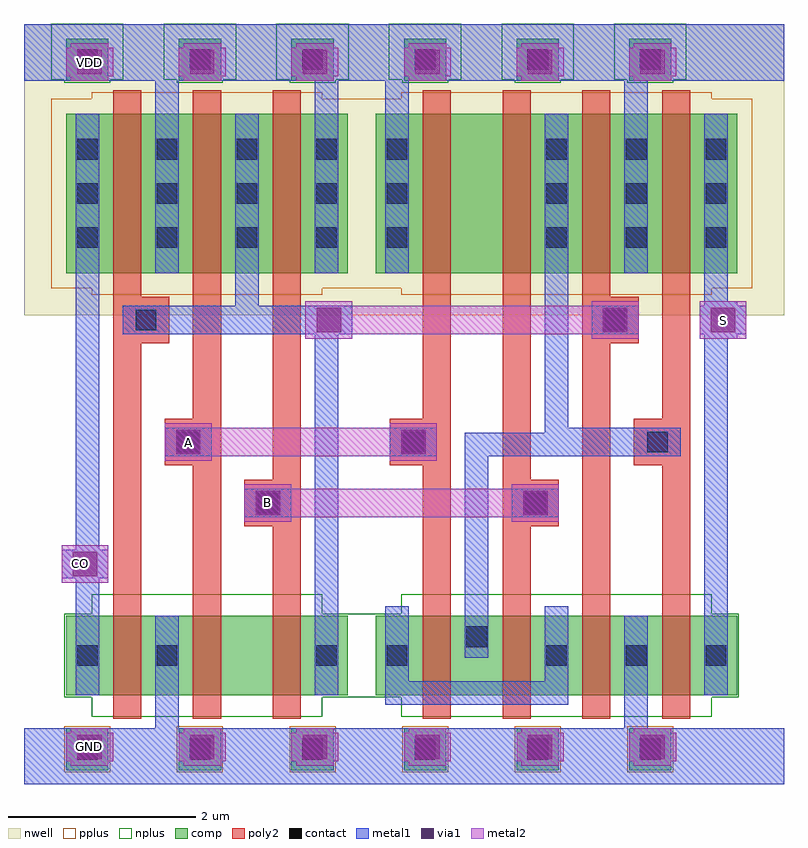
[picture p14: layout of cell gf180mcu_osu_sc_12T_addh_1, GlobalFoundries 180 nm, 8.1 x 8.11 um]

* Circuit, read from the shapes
.subckt gf180mcu_osu_sc_12T_addh_1 A B CO GND S VDD
XM1 GND n1 CO GND nfet_03v3 w=0.85u l=0.3u
XM2 n2 A GND GND nfet_03v3 w=0.85u l=0.3u
XM3 n1 B n2 GND nfet_03v3 w=0.85u l=0.3u
XM4 n3 A n4 GND nfet_03v3 w=0.85u l=0.3u
XM5 n4 B n3 GND nfet_03v3 w=0.85u l=0.3u
XM6 GND n1 n4 GND nfet_03v3 w=0.85u l=0.3u
XM7 S n3 GND GND nfet_03v3 w=0.85u l=0.3u
XM8 VDD n1 CO VDD pfet_03v3 w=1.7u l=0.3u
XM9 n1 A VDD VDD pfet_03v3 w=1.7u l=0.3u
XM10 VDD B n1 VDD pfet_03v3 w=1.7u l=0.3u
XM11 n5 A VDD VDD pfet_03v3 w=1.7u l=0.3u
XM12 n3 B n5 VDD pfet_03v3 w=1.7u l=0.3u
XM13 VDD n1 n3 VDD pfet_03v3 w=1.7u l=0.3u
XM14 S n3 VDD VDD pfet_03v3 w=1.7u l=0.3u
.ends

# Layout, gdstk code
import gdstk
lib = gdstk.Library(unit=1e-6, precision=1e-09)
def R(c, l, rs):  # rectangles x0, y0, x1, y1
    for r in rs: c.add(gdstk.rectangle(r[:2], r[2:], *l))
def A(c, l, x, y, w, h, nx, ny, dx, dy):  # array of equal rectangles
    R(c, l, [(x+i*dx, y+j*dy, x+i*dx+w, y+j*dy+h) for i in range(nx) for j in range(ny)])
nwell = (21, 0)
comp = (22, 0)
poly2 = (30, 0)
pplus = (31, 0)
nplus = (32, 0)
contact = (33, 0)
metal1 = (34, 0)
via1 = (35, 0)
metal2 = (36, 0)

gf180mcu_osu_sc_12t_addh = lib.new_cell('gf180mcu_osu_sc_12T_addh_1')
R(gf180mcu_osu_sc_12t_addh, nwell, [(0,5,8.1,8.1)])
A(gf180mcu_osu_sc_12t_addh, comp, 0.45, 0.15, 0.45, 0.45, 6, 2, 1.2, 7.35)
R(gf180mcu_osu_sc_12t_addh, comp, [(0.45,0.95,3.45,1.8), (3.75,0.95,7.6,1.8), (0.45,5.45,3.45,7.15), (3.75,5.45,7.6,7.15)])
R(gf180mcu_osu_sc_12t_addh, poly2, [(0.95,0.7,1.25,4.7), (1.8,0.7,2.1,3.4), (2.65,0.7,2.95,2.75), (4.25,0.7,4.55,3.4), (5.1,0.7,5.4,2.75), (5.95,0.7,6.25,4.7), (6.8,0.7,7.1,3.4), (2.35,2.75,2.95,3.25), (5.1,2.75,5.7,3.25), (2.65,3.25,2.95,7.4), (5.1,3.25,5.4,7.4), (1.5,3.4,2.1,3.9), (3.9,3.4,4.55,3.9), (6.5,3.4,7.1,3.9), (1.8,3.9,2.1,7.4), (4.25,3.9,4.55,7.4), (6.8,3.9,7.1,7.4), (0.95,4.7,1.55,5.2), (5.95,4.7,6.55,5.2), (0.95,5.2,1.25,7.4), (5.95,5.2,6.25,7.4)])
A(gf180mcu_osu_sc_12t_addh, pplus, 0.43, 0.13, 0.49, 0.49, 6, 1, 1.2, 0)
R(gf180mcu_osu_sc_12t_addh, pplus, [(0.72,5.22,3.18,5.29), (4.02,5.22,7.33,5.29), (0.29,5.29,7.76,7.31), (0.72,7.31,3.18,7.38), (4.02,7.31,7.33,7.38)])
A(gf180mcu_osu_sc_12t_addh, nplus, 0.43, 7.48, 0.49, 0.03, 6, 1, 1.2, 0)
A(gf180mcu_osu_sc_12t_addh, nplus, 0.29, 7.51, 0.77, 0.6, 6, 1, 1.2, 0)
R(gf180mcu_osu_sc_12t_addh, nplus, [(0.72,0.72,3.18,0.93), (4.02,0.72,7.33,0.93), (0.43,0.93,7.62,1.82), (0.72,1.82,3.18,2.03), (4.02,1.82,7.33,2.03)])
A(gf180mcu_osu_sc_12t_addh, contact, 0.565, 0.265, 0.22, 0.22, 6, 2, 1.2, 7.35)
A(gf180mcu_osu_sc_12t_addh, contact, 5.565, 1.265, 0.22, 0.22, 3, 2, 0.85, 4.455)
A(gf180mcu_osu_sc_12t_addh, contact, 0.565, 5.72, 0.22, 0.22, 4, 3, 0.85, 0.47)
A(gf180mcu_osu_sc_12t_addh, contact, 3.865, 5.72, 0.22, 0.22, 1, 3, 0, 0.47)
A(gf180mcu_osu_sc_12t_addh, contact, 5.565, 6.19, 0.22, 0.22, 3, 2, 0.85, 0.47)
R(gf180mcu_osu_sc_12t_addh, contact, [(0.565,1.265,0.785,1.485), (1.415,1.265,1.635,1.485), (3.115,1.265,3.335,1.485), (3.865,1.265,4.085,1.485), (4.715,1.465,4.935,1.685), (2.49,2.89,2.71,3.11), (5.34,2.89,5.56,3.11), (1.64,3.54,1.86,3.76), (4.04,3.54,4.26,3.76), (6.64,3.54,6.86,3.76), (1.19,4.84,1.41,5.06), (6.19,4.84,6.41,5.06)])
R(gf180mcu_osu_sc_12t_addh, metal1, [(0,0,8.1,0.6), (1.4,0.6,1.65,1.8), (6.4,0.6,6.65,1.8), (3.85,0.85,5.8,1.1), (0.55,0.95,0.8,2.2), (3.1,0.95,3.35,4.8), (7.25,0.95,7.5,4.75), (3.85,1.1,4.1,1.9), (5.55,1.1,5.8,1.9), (4.7,1.35,4.95,3.5), (0.4,2.2,0.9,2.5), (0.55,2.5,0.8,7.15), (2.35,2.85,2.85,3.15), (5.2,2.85,5.7,3.15), (1.5,3.5,2,3.8), (3.9,3.5,4.4,3.8), (4.7,3.5,7,3.75), (5.55,3.75,7,3.8), (5.55,3.8,5.8,7.15), (7.25,4.75,7.6,4.8), (1.05,4.8,3.5,5.1), (6.05,4.8,6.55,5.1), (7.2,4.8,7.7,5.1), (2.25,5.1,2.5,7.15), (7.25,5.1,7.6,5.15), (7.25,5.15,7.5,7.15), (1.4,5.45,1.65,7.5), (3.1,5.45,3.35,7.5), (3.85,5.45,4.1,7.5), (6.4,5.45,6.65,7.5), (0,7.5,8.1,8.1)])
A(gf180mcu_osu_sc_12t_addh, via1, 0.57, 0.27, 0.26, 0.26, 6, 2, 1.2, 7.3)
R(gf180mcu_osu_sc_12t_addh, via1, [(0.52,2.22,0.78,2.48), (2.47,2.87,2.73,3.13), (5.32,2.87,5.58,3.13), (1.62,3.52,1.88,3.78), (4.02,3.52,4.28,3.78), (3.12,4.82,3.38,5.08), (6.17,4.82,6.43,5.08), (7.32,4.82,7.58,5.08)])
A(gf180mcu_osu_sc_12t_addh, metal2, 0.5, 0.2, 0.4, 0.05, 6, 2, 1.2, 0.35)
A(gf180mcu_osu_sc_12t_addh, metal2, 0.45, 0.25, 0.5, 0.3, 6, 2, 1.2, 7.3)
A(gf180mcu_osu_sc_12t_addh, metal2, 0.5, 7.5, 0.4, 0.05, 6, 2, 1.2, 0.35)
R(gf180mcu_osu_sc_12t_addh, metal2, [(0.4,2.15,0.9,2.55), (2.35,2.8,2.85,2.85), (5.2,2.8,5.7,2.85), (2.35,2.85,5.7,3.15), (2.35,3.15,2.85,3.2), (5.2,3.15,5.7,3.2), (1.5,3.45,2,3.5), (3.9,3.45,4.4,3.5), (1.5,3.5,4.4,3.8), (1.5,3.8,2,3.85), (3.9,3.8,4.4,3.85), (3,4.75,3.5,4.8), (6.05,4.75,6.55,4.8), (7.2,4.75,7.7,5.15), (3,4.8,6.55,5.1), (3,5.1,3.5,5.15), (6.05,5.1,6.55,5.15)])
gf180mcu_osu_sc_12t_addh.add(gdstk.Label('GND', (0.7,0.4), layer=36, texttype=0))
gf180mcu_osu_sc_12t_addh.add(gdstk.Label('VDD', (0.7,7.7), layer=36, texttype=0))
gf180mcu_osu_sc_12t_addh.add(gdstk.Label('A', (1.75,3.65), layer=36, texttype=10))
gf180mcu_osu_sc_12t_addh.add(gdstk.Label('B', (2.6,3), layer=36, texttype=10))
gf180mcu_osu_sc_12t_addh.add(gdstk.Label('S', (7.45,4.95), layer=36, texttype=10))
gf180mcu_osu_sc_12t_addh.add(gdstk.Label('CO', (0.6,2.35), layer=36, texttype=10))

lib.write_gds('gf180mcu_osu_sc_12T_addh_1.gds')
